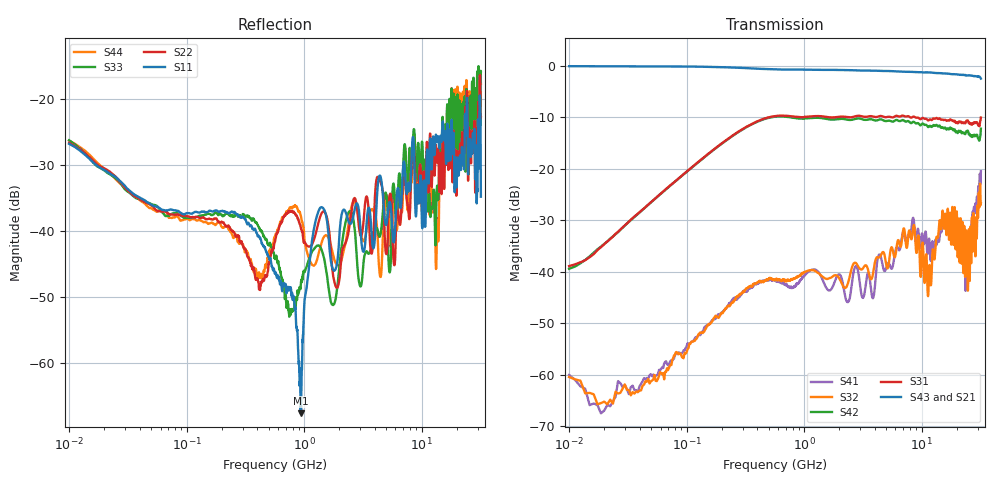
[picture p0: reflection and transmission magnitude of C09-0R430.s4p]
!Keysight Technologies,N5225A,MY51451185,Z.10.48.20
!Date: Tuesday, March 28, 2017 16:19:17
!Correction: S11(Full 4 Port(1,2,3,4))
!S12(Full 4 Port(1,2,3,4))
!S13(Full 4 Port(1,2,3,4))
!S14(Full 4 Port(1,2,3,4))
!S21(Full 4 Port(1,2,3,4))
!S22(Full 4 Port(1,2,3,4))
!S23(Full 4 Port(1,2,3,4))
!S24(Full 4 Port(1,2,3,4))
!S31(Full 4 Port(1,2,3,4))
!S32(Full 4 Port(1,2,3,4))
!S33(Full 4 Port(1,2,3,4))
!S34(Full 4 Port(1,2,3,4))
!S41(Full 4 Port(1,2,3,4))
!S42(Full 4 Port(1,2,3,4))
!S43(Full 4 Port(1,2,3,4))
!S44(Full 4 Port(1,2,3,4))
! Description:  4-port S-parameter data for Directional Coupler C09-0R430
!Port Configuration : Port 1 = Input ; Port 2 = Output ; Port 3 = Coupled ; Port 4 = Isolated
!S4P File: Measurements: <S11,S12,S13,S14>,
!<S21,S22,S23,S24>,
!<S31,S32,S33,S34>,
!<S41,S42,S43,S44>:
# Hz S  dB  R 50
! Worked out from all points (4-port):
!   1577 points, 10 MHz to 32 GHz, reference 50 ohm
!   strongest paths, dB at 10 MHz, 497.6 MHz, 985.1 MHz, 16.24 GHz, 32 GHz:
!     S43: 0.0, -0.6, -0.7, -1.5, -2.5
!     S21: 0.0, -0.6, -0.7, -1.5, -2.3
!     S31: -38.9, -10.0, -9.9, -10.6, -10.0
!     S42: -39.4, -10.1, -10.3, -12.3, -12.2
!     S32: -60.4, -41.4, -40.2, -32.7, -26.6
!     S41: -60.0, -41.6, -40.9, -32.0, -20.5
!   lowest |S11| = -67.7 dB at 936.9 MHz (marker M1), VSWR 1.00, Z = 50 - j0.0337 ohm
!   |S11| at or under -10 dB: start of sweep to end of sweep
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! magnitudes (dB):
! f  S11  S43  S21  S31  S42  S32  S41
! 10 MHz  -26.7  0.0  0.0  -38.9  -39.4  -60.4  -60.0
! 381.2 MHz  -39.6  -0.5  -0.5  -11.0  -11.0  -42.3  -42.3
! 936.9 MHz  -67.7  -0.7  -0.7  -10.0  -10.2  -40.5  -41.5
! 1.37 GHz  -36.5  -0.8  -0.8  -9.7  -10.1  -40.5  -40.5
! 13.33 GHz  -25.5  -1.4  -1.4  -10.1  -11.5  -33.5  -34.6
! 23.76 GHz  -24.5  -1.8  -1.8  -11.0  -13.0  -33.2  -43.5
! 32 GHz  -34.8  -2.5  -2.3  -10.0  -12.2  -26.6  -20.5
